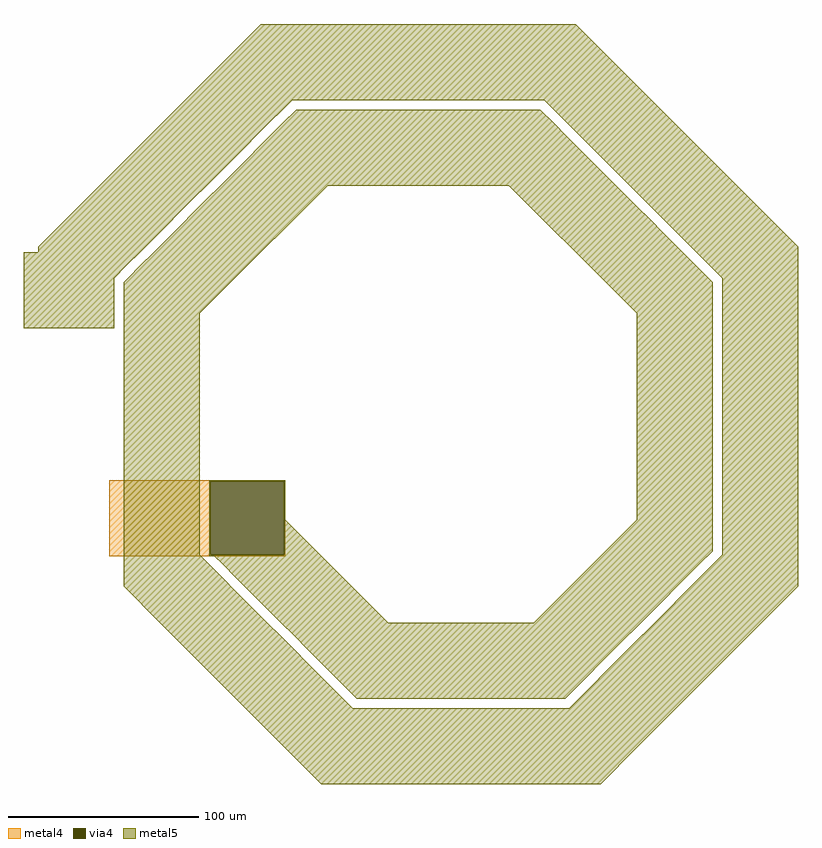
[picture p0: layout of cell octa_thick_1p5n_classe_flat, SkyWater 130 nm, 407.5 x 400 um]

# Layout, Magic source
magic
tech sky130B
magscale 1 2
<< metal4 >>
rect -57000 -28112 -38500 -28000
rect -57000 -35888 -46388 -28112
rect -38612 -35888 -38500 -28112
rect -57000 -36000 -38500 -35888
<< via4 >>
rect -46388 -35888 -38612 -28112
<< metal5 >>
tri -49069 12000 -41069 20000 se
rect -41069 12000 -7931 20000
tri -7931 12000 69 20000 sw
tri -56655 4414 -49069 12000 se
rect -49069 11000 -38755 12000
tri -38755 11000 -37755 12000 nw
tri -11245 11000 -10245 12000 ne
rect -10245 11000 69 12000
rect -49069 9586 -40169 11000
tri -40169 9586 -38755 11000 nw
tri -38755 9586 -37341 11000 se
rect -37341 9586 -11659 11000
tri -11659 9586 -10245 11000 sw
tri -10245 9586 -8831 11000 ne
rect -8831 9586 69 11000
rect -49069 8172 -41583 9586
tri -41583 8172 -40169 9586 nw
tri -40169 8172 -38755 9586 se
rect -38755 8172 -10245 9586
tri -10245 8172 -8831 9586 sw
tri -8831 8172 -7417 9586 ne
rect -7417 8172 69 9586
rect -49069 7242 -42513 8172
tri -42513 7242 -41583 8172 nw
tri -41099 7242 -40169 8172 se
rect -40169 7242 -8831 8172
rect -49069 5828 -43927 7242
tri -43927 5828 -42513 7242 nw
tri -42513 5828 -41099 7242 se
rect -41099 6758 -8831 7242
tri -8831 6758 -7417 8172 sw
tri -7417 6758 -6003 8172 ne
rect -6003 6758 69 8172
rect -41099 5828 -7417 6758
tri -7417 5828 -6487 6758 sw
tri -6003 5828 -5073 6758 ne
rect -5073 5828 69 6758
rect -49069 4414 -45341 5828
tri -45341 4414 -43927 5828 nw
tri -43927 4414 -42513 5828 se
rect -42513 4414 -6487 5828
tri -6487 4414 -5073 5828 sw
tri -5073 4414 -3659 5828 ne
rect -3659 4414 69 5828
tri -64500 -3431 -56655 4414 se
rect -56655 3000 -46755 4414
tri -46755 3000 -45341 4414 nw
tri -45341 3000 -43927 4414 se
rect -43927 3000 -5073 4414
tri -5073 3000 -3659 4414 sw
tri -3659 3000 -2245 4414 ne
rect -2245 3000 69 4414
rect -56655 1586 -48169 3000
tri -48169 1586 -46755 3000 nw
tri -46755 1586 -45341 3000 se
rect -56655 172 -49583 1586
tri -49583 172 -48169 1586 nw
tri -48169 172 -46755 1586 se
rect -46755 172 -45341 1586
rect -56655 -1172 -50927 172
tri -50927 -1172 -49583 172 nw
tri -49513 -1172 -48169 172 se
rect -48169 -1172 -45341 172
rect -56655 -2586 -52341 -1172
tri -52341 -2586 -50927 -1172 nw
tri -50927 -2586 -49513 -1172 se
rect -49513 -2586 -45341 -1172
rect -56655 -3431 -53755 -2586
rect -64500 -4000 -53755 -3431
tri -53755 -4000 -52341 -2586 nw
tri -52341 -4000 -50927 -2586 se
rect -50927 -4000 -45341 -2586
rect -66000 -5414 -55169 -4000
tri -55169 -5414 -53755 -4000 nw
tri -53755 -5414 -52341 -4000 se
rect -52341 -5414 -45341 -4000
rect -66000 -12000 -56500 -5414
tri -56500 -6745 -55169 -5414 nw
tri -55086 -6745 -53755 -5414 se
rect -53755 -6745 -45341 -5414
tri -55500 -7159 -55086 -6745 se
rect -55086 -7159 -45341 -6745
rect -55500 -8314 -45341 -7159
tri -45341 -8314 -34027 3000 nw
tri -14973 -8314 -3659 3000 ne
tri -3659 2255 -2914 3000 sw
tri -2245 2255 -1500 3000 ne
rect -1500 2255 69 3000
rect -3659 841 -2914 2255
tri -2914 841 -1500 2255 sw
tri -1500 841 -86 2255 ne
rect -86 841 69 2255
tri 69 841 11228 12000 sw
rect -3659 -573 -1500 841
tri -1500 -573 -86 841 sw
tri -86 -573 1328 841 ne
rect 1328 -573 11228 841
rect -3659 -1987 -86 -573
tri -86 -1987 1328 -573 sw
tri 1328 -1987 2742 -573 ne
rect 2742 -1987 11228 -573
rect -3659 -2917 1328 -1987
tri 1328 -2917 2258 -1987 sw
tri 2742 -2917 3672 -1987 ne
rect 3672 -2917 11228 -1987
rect -3659 -4331 2258 -2917
tri 2258 -4331 3672 -2917 sw
tri 3672 -4331 5086 -2917 ne
rect 5086 -3431 11228 -2917
tri 11228 -3431 15500 841 sw
rect 5086 -4331 15500 -3431
rect -3659 -5745 3672 -4331
tri 3672 -5745 5086 -4331 sw
tri 5086 -5745 6500 -4331 ne
rect 6500 -5745 15500 -4331
rect -3659 -7159 5086 -5745
tri 5086 -7159 6500 -5745 sw
tri 6500 -6745 7500 -5745 ne
rect -3659 -8314 6500 -7159
rect -55500 -36891 -47500 -8314
tri -47500 -10473 -45341 -8314 nw
tri -3659 -10473 -1500 -8314 ne
rect -46500 -28112 -38500 -28000
rect -46500 -35888 -46388 -28112
rect -38612 -35888 -38500 -28112
tri -47500 -36891 -46500 -35891 sw
rect -46500 -36000 -38500 -35888
tri -45977 -36891 -45086 -36000 ne
rect -45086 -36891 -38500 -36000
rect -55500 -38305 -46500 -36891
tri -46500 -38305 -45086 -36891 sw
tri -45086 -38305 -43672 -36891 ne
rect -43672 -38305 -38500 -36891
rect -55500 -39205 -45086 -38305
tri -55500 -43000 -51705 -39205 ne
rect -51705 -39719 -45086 -39205
tri -45086 -39719 -43672 -38305 sw
tri -43672 -39719 -42258 -38305 ne
rect -42258 -39719 -38500 -38305
rect -51705 -40172 -43672 -39719
tri -43672 -40172 -43219 -39719 sw
tri -42258 -40172 -41805 -39719 ne
rect -41805 -40172 -38500 -39719
rect -51705 -41586 -43219 -40172
tri -43219 -41586 -41805 -40172 sw
tri -41805 -41586 -40391 -40172 ne
rect -40391 -41586 -38500 -40172
rect -51705 -43000 -41805 -41586
tri -41805 -43000 -40391 -41586 sw
tri -40391 -43000 -38977 -41586 ne
rect -38977 -43000 -38500 -41586
tri -38500 -43000 -27663 -32163 sw
tri -12337 -43000 -1500 -32163 se
rect -1500 -35477 6500 -8314
rect -1500 -36891 5086 -35477
tri 5086 -36891 6500 -35477 nw
tri 6500 -36891 7500 -35891 se
rect 7500 -36891 15500 -5745
rect -1500 -38305 3672 -36891
tri 3672 -38305 5086 -36891 nw
tri 5086 -38305 6500 -36891 se
rect 6500 -38305 15500 -36891
rect -1500 -39719 2258 -38305
tri 2258 -39719 3672 -38305 nw
tri 3672 -39719 5086 -38305 se
rect 5086 -39205 15500 -38305
rect 5086 -39719 7500 -39205
rect -1500 -40172 1805 -39719
tri 1805 -40172 2258 -39719 nw
tri 3219 -40172 3672 -39719 se
rect 3672 -40172 7500 -39719
rect -1500 -41586 391 -40172
tri 391 -41586 1805 -40172 nw
tri 1805 -41586 3219 -40172 se
rect 3219 -41586 7500 -40172
rect -1500 -43000 -1023 -41586
tri -1023 -43000 391 -41586 nw
tri 391 -43000 1805 -41586 se
rect 1805 -43000 7500 -41586
tri -51705 -52000 -42705 -43000 ne
rect -42705 -44414 -40391 -43000
tri -40391 -44414 -38977 -43000 sw
tri -38977 -44414 -37563 -43000 ne
rect -37563 -43477 -1500 -43000
tri -1500 -43477 -1023 -43000 nw
tri -86 -43477 391 -43000 se
rect 391 -43477 7500 -43000
rect -37563 -44414 -2914 -43477
rect -42705 -45828 -38977 -44414
tri -38977 -45828 -37563 -44414 sw
tri -37563 -45828 -36149 -44414 ne
rect -36149 -44891 -2914 -44414
tri -2914 -44891 -1500 -43477 nw
tri -1500 -44891 -86 -43477 se
rect -86 -44891 7500 -43477
rect -36149 -45828 -4328 -44891
rect -42705 -47242 -37563 -45828
tri -37563 -47242 -36149 -45828 sw
tri -36149 -47242 -34735 -45828 ne
rect -34735 -46305 -4328 -45828
tri -4328 -46305 -2914 -44891 nw
tri -2914 -46305 -1500 -44891 se
rect -1500 -46305 7500 -44891
rect -34735 -47242 -5742 -46305
rect -42705 -48172 -36149 -47242
tri -36149 -48172 -35219 -47242 sw
tri -34735 -48172 -33805 -47242 ne
rect -33805 -47719 -5742 -47242
tri -5742 -47719 -4328 -46305 nw
tri -4328 -47719 -2914 -46305 se
rect -2914 -47205 7500 -46305
tri 7500 -47205 15500 -39205 nw
rect -2914 -47719 -1500 -47205
rect -33805 -48172 -6195 -47719
tri -6195 -48172 -5742 -47719 nw
tri -4781 -48172 -4328 -47719 se
rect -4328 -48172 -1500 -47719
rect -42705 -49586 -35219 -48172
tri -35219 -49586 -33805 -48172 sw
tri -33805 -49586 -32391 -48172 ne
rect -32391 -49586 -7609 -48172
tri -7609 -49586 -6195 -48172 nw
tri -6195 -49586 -4781 -48172 se
rect -4781 -49586 -1500 -48172
rect -42705 -51000 -33805 -49586
tri -33805 -51000 -32391 -49586 sw
tri -32391 -51000 -30977 -49586 ne
rect -30977 -51000 -9023 -49586
tri -9023 -51000 -7609 -49586 nw
tri -7609 -51000 -6195 -49586 se
rect -6195 -51000 -1500 -49586
rect -42705 -52000 -32391 -51000
tri -32391 -52000 -31391 -51000 sw
tri -8609 -52000 -7609 -51000 se
rect -7609 -52000 -1500 -51000
tri -42705 -60000 -34705 -52000 ne
rect -34705 -56205 -1500 -52000
tri -1500 -56205 7500 -47205 nw
rect -34705 -60000 -5295 -56205
tri -5295 -60000 -1500 -56205 nw
<< end >>
